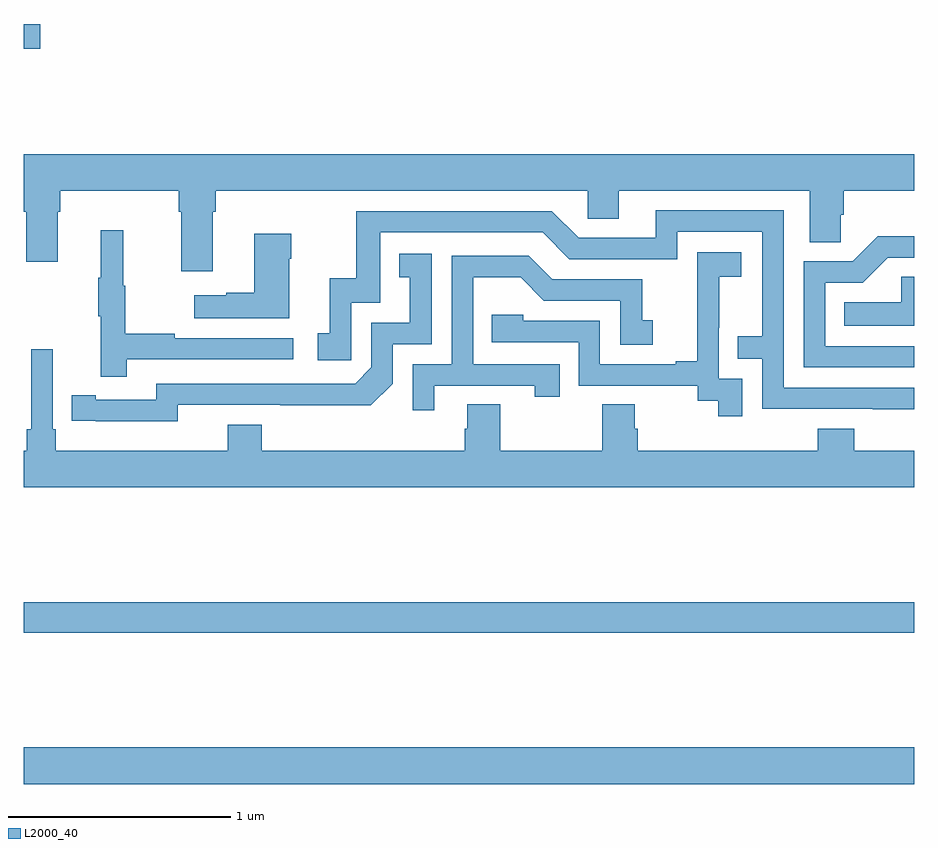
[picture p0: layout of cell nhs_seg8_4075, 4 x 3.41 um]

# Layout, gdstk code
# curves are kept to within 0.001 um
import gdstk
lib = gdstk.Library(unit=1e-6, precision=1e-09)
def R(c, l, rs):  # rectangles x0, y0, x1, y1
    for r in rs: c.add(gdstk.rectangle(r[:2], r[2:], *l))
def P(c, l, *ps):  # polygons
    for p in ps: c.add(gdstk.Polygon(p, *l))
L2000_40 = (2000, 40)

nhs_seg8_4075 = lib.new_cell('nhs_seg8_4075')
R(nhs_seg8_4075, L2000_40, [(361,1128.488,365,1128.652), (361,1129.168,365,1129.304), (361,1131.79,361.075,1131.9)])
P(nhs_seg8_4075, L2000_40, [(361.849,1131.056),(361.862,1131.056),(361.862,1131.152),(363.534,1131.152),(363.534,1131.025),(363.673,1131.025),(363.673,1131.152),(364.529,1131.152),(364.529,1130.92),(364.668,1130.92),(364.668,1131.043),(364.682,1131.043),(364.682,1131.152),(365,1131.152),(365,1131.316),(361,1131.316),(361,1131.152),(361.001,1131.152),(361.001,1131.056),(361.013,1131.056),(361.013,1130.832),(361.153,1130.832),(361.153,1131.056),(361.166,1131.056),(361.166,1131.152),(361.697,1131.152),(361.697,1131.056),(361.709,1131.056),(361.709,1130.79),(361.849,1130.79)],
  [(365,1130.268),(364.413,1130.268),(364.413,1131.063),(363.839,1131.063),(363.839,1130.94),(363.492,1130.94),(363.372,1131.06),(362.493,1131.06),(362.493,1130.758),(362.375,1130.758),(362.375,1130.511),(362.322,1130.511),(362.322,1130.391),(362.472,1130.391),(362.472,1130.649),(362.601,1130.649),(362.601,1130.964),(363.33,1130.964),(363.45,1130.844),(363.936,1130.844),(363.936,1130.967),(364.317,1130.967),(364.317,1130.498),(364.207,1130.498),(364.207,1130.397),(364.317,1130.397),(364.317,1130.172),(365,1130.171)],
  [(361.463,1130.394),(362.212,1130.394),(362.212,1130.49),(361.679,1130.49),(361.679,1130.51),(361.456,1130.51),(361.456,1130.724),(361.448,1130.724),(361.448,1130.974),(361.346,1130.974),(361.346,1130.761),(361.335,1130.761),(361.335,1130.587),(361.346,1130.587),(361.346,1130.316),(361.463,1130.316)],
  [(362.194,1130.846),(362.202,1130.846),(362.202,1130.959),(362.036,1130.959),(362.036,1130.693),(361.91,1130.693),(361.91,1130.683),(361.767,1130.683),(361.767,1130.579),(362.194,1130.579)],
  [(365,1130.454),(364.599,1130.454),(364.599,1130.739),(364.768,1130.739),(364.879,1130.85),(365,1130.85),(365,1130.948),(364.835,1130.948),(364.722,1130.835),(364.503,1130.835),(364.503,1130.358),(365,1130.358)],
  [(364.227,1130.307),(364.122,1130.307),(364.122,1130.537),(364.124,1130.537),(364.124,1130.765),(364.222,1130.765),(364.222,1130.875),(364.024,1130.875),(364.024,1130.669),(364.025,1130.669),(364.025,1130.386),(363.929,1130.386),(363.929,1130.373),(363.588,1130.373),(363.588,1130.568),(363.243,1130.568),(363.243,1130.595),(363.103,1130.595),(363.103,1130.472),(363.492,1130.472),(363.492,1130.277),(364.026,1130.277),(364.026,1130.209),(364.119,1130.209),(364.119,1130.139),(364.227,1130.139)],
  [(361.692,1130.19),(362.56,1130.189),(362.658,1130.286),(362.658,1130.463),(362.832,1130.463),(362.832,1130.869),(362.686,1130.869),(362.686,1130.763),(362.735,1130.763),(362.735,1130.559),(362.562,1130.559),(362.562,1130.358),(362.49,1130.286),(361.596,1130.286),(361.596,1130.214),(361.324,1130.214),(361.324,1130.234),(361.216,1130.234),(361.216,1130.118),(361.692,1130.117)],
  [(362.845,1130.277),(363.296,1130.277),(363.296,1130.226),(363.407,1130.226),(363.407,1130.373),(363.018,1130.373),(363.018,1130.762),(363.232,1130.762),(363.336,1130.658),(363.678,1130.658),(363.678,1130.46),(363.826,1130.46),(363.826,1130.569),(363.777,1130.569),(363.777,1130.754),(363.373,1130.754),(363.268,1130.859),(362.922,1130.859),(362.922,1130.373),(362.748,1130.373),(362.748,1130.166),(362.845,1130.166)],
  [(365,1130.765),(364.941,1130.765),(364.941,1130.65),(364.684,1130.65),(364.684,1130.546),(365,1130.546)],
  [(365,1129.984),(364.73,1129.984),(364.73,1130.083),(364.565,1130.083),(364.565,1129.984),(363.758,1129.984),(363.758,1130.082),(363.745,1130.082),(363.745,1130.192),(363.598,1130.192),(363.598,1129.984),(363.141,1129.984),(363.141,1130.192),(362.993,1130.192),(362.993,1130.082),(362.981,1130.082),(362.981,1129.984),(362.069,1129.984),(362.069,1130.101),(361.916,1130.101),(361.916,1129.984),(361.145,1129.984),(361.145,1130.08),(361.131,1130.08),(361.131,1130.44),(361.034,1130.44),(361.034,1130.08),(361.015,1130.08),(361.015,1129.984),(361,1129.984),(361,1129.82),(365,1129.82)])

lib.write_gds('nhs_seg8_4075.gds')
